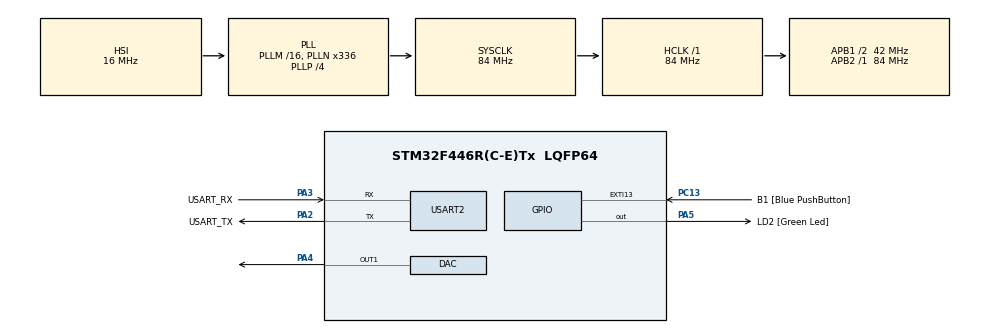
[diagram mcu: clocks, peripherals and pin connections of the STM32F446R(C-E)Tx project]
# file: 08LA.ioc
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Mcu.Family=STM32F4
Mcu.Name=STM32F446R(C-E)Tx
Mcu.Package=LQFP64
NVIC.PriorityGroup=NVIC_PRIORITYGROUP_0
NVIC.TIM7_IRQn=true\:0\:0\:false\:false\:true\:true\:true\:true
NVIC.USART2_IRQn=true\:0\:0\:false\:false\:true\:true\:true\:true
PA13.GPIO_Label=TMS
PA13.Signal=SYS_JTMS-SWDIO
PA14.GPIO_Label=TCK
PA14.Signal=SYS_JTCK-SWCLK
PA2.GPIO_Label=USART_TX
PA2.Mode=Asynchronous
PA2.Signal=USART2_TX
PA3.GPIO_Label=USART_RX
PA3.Mode=Asynchronous
PA3.Signal=USART2_RX
PA4.Signal=COMP_DAC1_group
PA5.GPIO_Label=LD2 [Green Led]
PA5.Signal=GPIO_Output
PB3.GPIO_Label=SWO
PB3.Signal=SYS_JTDO-SWO
PC13.GPIO_Label=B1 [Blue PushButton]
PC13.GPIO_ModeDefaultEXTI=GPIO_MODE_IT_FALLING
PC13.Signal=GPXTI13
PC14-OSC32_IN.Signal=RCC_OSC32_IN
PC15-OSC32_OUT.Signal=RCC_OSC32_OUT
PH0-OSC_IN.Signal=RCC_OSC_IN
PH1-OSC_OUT.Signal=RCC_OSC_OUT
ProjectManager.HeapSize=0x200
ProjectManager.StackSize=0x400
ProjectManager.TargetToolchain=STM32CubeIDE
RCC.AHBFreq_Value=84000000
RCC.APB1CLKDivider=RCC_HCLK_DIV2
RCC.APB1Freq_Value=42000000
RCC.APB1TimFreq_Value=84000000
RCC.APB2Freq_Value=84000000
RCC.APB2TimFreq_Value=84000000
RCC.CortexFreq_Value=84000000
RCC.FLatency-AdvancedSettings=FLASH_LATENCY_2
RCC.HCLKFreq_Value=84000000
RCC.HSE_VALUE=8000000
RCC.HSI_VALUE=16000000
RCC.LSE_VALUE=32768
RCC.PLLN=336
RCC.PLLP=RCC_PLLP_DIV4
RCC.SYSCLKFreq_VALUE=84000000
RCC.SYSCLKSource=RCC_SYSCLKSOURCE_PLLCLK
RCC.USBFreq_Value=168000000
RCC.VCOOutputFreq_Value=336000000
SH.COMP_DAC1_group.0=DAC_OUT1,DAC_OUT1
TIM7.Prescaler=83
USART2.VirtualMode=VM_ASYNC
VP_TIM7_VS_ClockSourceINT.Mode=Enable_Timer
board=NUCLEO-F446RE

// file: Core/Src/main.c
/* USER CODE BEGIN Header */
/**
  ******************************************************************************
  * @file           : main.c
  * @brief          : Main program body
  ******************************************************************************
  * @attention
  *
  * Copyright (c) 2025 STMicroelectronics.
  * All rights reserved.
  *
  * This software is licensed under terms that can be found in the LICENSE file
  * in the root directory of this software component.
  * If no LICENSE file comes with this software, it is provided AS-IS.
  *
  ******************************************************************************
  */
/* USER CODE END Header */
#include "main.h"

/* USER CODE BEGIN Includes */
#include <math.h>
/* USER CODE END Includes */

DAC_HandleTypeDef hdac;

TIM_HandleTypeDef htim7;

UART_HandleTypeDef huart2;

/* USER CODE BEGIN PV */

  uint16_t ui16Sin[30];
  uint8_t  ui8Index,ui8Index2;
  double dTemp;

/* USER CODE END PV */

void SystemClock_Config(void);
static void MX_GPIO_Init(void);
static void MX_DAC_Init(void);
static void MX_TIM7_Init(void);
static void MX_USART2_UART_Init(void);

int main(void)
{

  /* MCU Configuration--------------------------------------------------------*/

  /* Reset of all peripherals, Initializes the Flash interface and the Systick. */
  HAL_Init();

  /* Configure the system clock */
  SystemClock_Config();

  /* Initialize all configured peripherals */
  MX_GPIO_Init();
  MX_DAC_Init();
  MX_TIM7_Init();
  MX_USART2_UART_Init();
  /* USER CODE BEGIN 2 */

  HAL_TIM_Base_Start_IT(&htim7);

  HAL_DAC_Start(&hdac, DAC_CHANNEL_1);
  //uint16_t ui16DAC = 0;

  for(ui8Index=0; ui8Index<20; ui8Index++)
  {
	  dTemp = 2*3.1415;
	  dTemp /= 20;
	  dTemp *= (double)ui8Index;
	  dTemp = sin(dTemp);
	  dTemp += 1;
	  dTemp *= (4095/2);
	  ui16Sin[ui8Index] = (uint16_t)dTemp;
  }

  /* USER CODE END 2 */

  /* Infinite loop */
  /* USER CODE BEGIN WHILE */
  while (1)
  {

	  //if(ui16DAC < 4095) ui16DAC ++;
	  //else ui16DAC = 0;
	  //HAL_DAC_SetValue(&hdac, DAC_CHANNEL_1, DAC_ALIGN_12B_R, ui16DAC);
	  //for(ui8Index=0; ui8Index < 20; ui8Index ++)
	  //HAL_DAC_SetValue(&hdac, DAC_CHANNEL_1, DAC_ALIGN_12B_R, ui16Sin[ui8Index]);

    /* USER CODE END WHILE */

  }
}

void SystemClock_Config(void)
{
  RCC_OscInitTypeDef RCC_OscInitStruct = {0};
  RCC_ClkInitTypeDef RCC_ClkInitStruct = {0};

  /** Configure the main internal regulator output voltage
  */
  __HAL_RCC_PWR_CLK_ENABLE();
  __HAL_PWR_VOLTAGESCALING_CONFIG(PWR_REGULATOR_VOLTAGE_SCALE3);

  /** Initializes the RCC Oscillators according to the specified parameters
  * in the RCC_OscInitTypeDef structure.
  */
  RCC_OscInitStruct.OscillatorType = RCC_OSCILLATORTYPE_HSI;
  RCC_OscInitStruct.HSIState = RCC_HSI_ON;
  RCC_OscInitStruct.HSICalibrationValue = RCC_HSICALIBRATION_DEFAULT;
  RCC_OscInitStruct.PLL.PLLState = RCC_PLL_ON;
  RCC_OscInitStruct.PLL.PLLSource = RCC_PLLSOURCE_HSI;
  RCC_OscInitStruct.PLL.PLLM = 16;
  RCC_OscInitStruct.PLL.PLLN = 336;
  RCC_OscInitStruct.PLL.PLLP = RCC_PLLP_DIV4;
  RCC_OscInitStruct.PLL.PLLQ = 2;
  RCC_OscInitStruct.PLL.PLLR = 2;
  if (HAL_RCC_OscConfig(&RCC_OscInitStruct) != HAL_OK)
  {
    Error_Handler();
  }

  /** Initializes the CPU, AHB and APB buses clocks
  */
  RCC_ClkInitStruct.ClockType = RCC_CLOCKTYPE_HCLK|RCC_CLOCKTYPE_SYSCLK
                              |RCC_CLOCKTYPE_PCLK1|RCC_CLOCKTYPE_PCLK2;
  RCC_ClkInitStruct.SYSCLKSource = RCC_SYSCLKSOURCE_PLLCLK;
  RCC_ClkInitStruct.AHBCLKDivider = RCC_SYSCLK_DIV1;
  RCC_ClkInitStruct.APB1CLKDivider = RCC_HCLK_DIV2;
  RCC_ClkInitStruct.APB2CLKDivider = RCC_HCLK_DIV1;

  if (HAL_RCC_ClockConfig(&RCC_ClkInitStruct, FLASH_LATENCY_2) != HAL_OK)
  {
    Error_Handler();
  }
}

static void MX_DAC_Init(void)
{

  DAC_ChannelConfTypeDef sConfig = {0};

  /** DAC Initialization
  */
  hdac.Instance = DAC;
  if (HAL_DAC_Init(&hdac) != HAL_OK)
  {
    Error_Handler();
  }

  /** DAC channel OUT1 config
  */
  sConfig.DAC_Trigger = DAC_TRIGGER_NONE;
  sConfig.DAC_OutputBuffer = DAC_OUTPUTBUFFER_ENABLE;
  if (HAL_DAC_ConfigChannel(&hdac, &sConfig, DAC_CHANNEL_1) != HAL_OK)
  {
    Error_Handler();
  }

}

static void MX_TIM7_Init(void)
{

  TIM_MasterConfigTypeDef sMasterConfig = {0};

  htim7.Instance = TIM7;
  htim7.Init.Prescaler = 83;
  htim7.Init.CounterMode = TIM_COUNTERMODE_UP;
  htim7.Init.Period = 1;
  htim7.Init.AutoReloadPreload = TIM_AUTORELOAD_PRELOAD_DISABLE;
  if (HAL_TIM_Base_Init(&htim7) != HAL_OK)
  {
    Error_Handler();
  }
  sMasterConfig.MasterOutputTrigger = TIM_TRGO_RESET;
  sMasterConfig.MasterSlaveMode = TIM_MASTERSLAVEMODE_DISABLE;
  if (HAL_TIMEx_MasterConfigSynchronization(&htim7, &sMasterConfig) != HAL_OK)
  {
    Error_Handler();
  }

}

static void MX_USART2_UART_Init(void)
{

  huart2.Instance = USART2;
  huart2.Init.BaudRate = 115200;
  huart2.Init.WordLength = UART_WORDLENGTH_8B;
  huart2.Init.StopBits = UART_STOPBITS_1;
  huart2.Init.Parity = UART_PARITY_NONE;
  huart2.Init.Mode = UART_MODE_TX_RX;
  huart2.Init.HwFlowCtl = UART_HWCONTROL_NONE;
  huart2.Init.OverSampling = UART_OVERSAMPLING_16;
  if (HAL_UART_Init(&huart2) != HAL_OK)
  {
    Error_Handler();
  }

}

static void MX_GPIO_Init(void)
{
  GPIO_InitTypeDef GPIO_InitStruct = {0};

  /* GPIO Ports Clock Enable */
  __HAL_RCC_GPIOC_CLK_ENABLE();
  __HAL_RCC_GPIOH_CLK_ENABLE();
  __HAL_RCC_GPIOA_CLK_ENABLE();
  __HAL_RCC_GPIOB_CLK_ENABLE();

  /*Configure GPIO pin Output Level */
  HAL_GPIO_WritePin(LD2_GPIO_Port, LD2_Pin, GPIO_PIN_RESET);

  /*Configure GPIO pin : B1_Pin */
  GPIO_InitStruct.Pin = B1_Pin;
  GPIO_InitStruct.Mode = GPIO_MODE_IT_FALLING;
  GPIO_InitStruct.Pull = GPIO_NOPULL;
  HAL_GPIO_Init(B1_GPIO_Port, &GPIO_InitStruct);

  /*Configure GPIO pin : LD2_Pin */
  GPIO_InitStruct.Pin = LD2_Pin;
  GPIO_InitStruct.Mode = GPIO_MODE_OUTPUT_PP;
  GPIO_InitStruct.Pull = GPIO_NOPULL;
  GPIO_InitStruct.Speed = GPIO_SPEED_FREQ_LOW;
  HAL_GPIO_Init(LD2_GPIO_Port, &GPIO_InitStruct);

}

/* USER CODE BEGIN 4 */
void HAL_TIM_PeriodElapsedCallback(TIM_HandleTypeDef *htim)
{
  /* Prevent unused argument(s) compilation warning */
  //UNUSED(htim);

  /* NOTE : This function should not be modified, when the callback is needed,
            the HAL_TIM_PeriodElapsedCallback could be implemented in the user file
   */
	if(ui8Index2 < 19) ui8Index2 ++;
	else ui8Index2 = 0;
	HAL_DAC_SetValue(&hdac, DAC_CHANNEL_1, DAC_ALIGN_12B_R, ui16Sin[ui8Index2]);
}

/* USER CODE END 4 */

void Error_Handler(void)
{
  __disable_irq();
  while (1)
  {
  }
}
